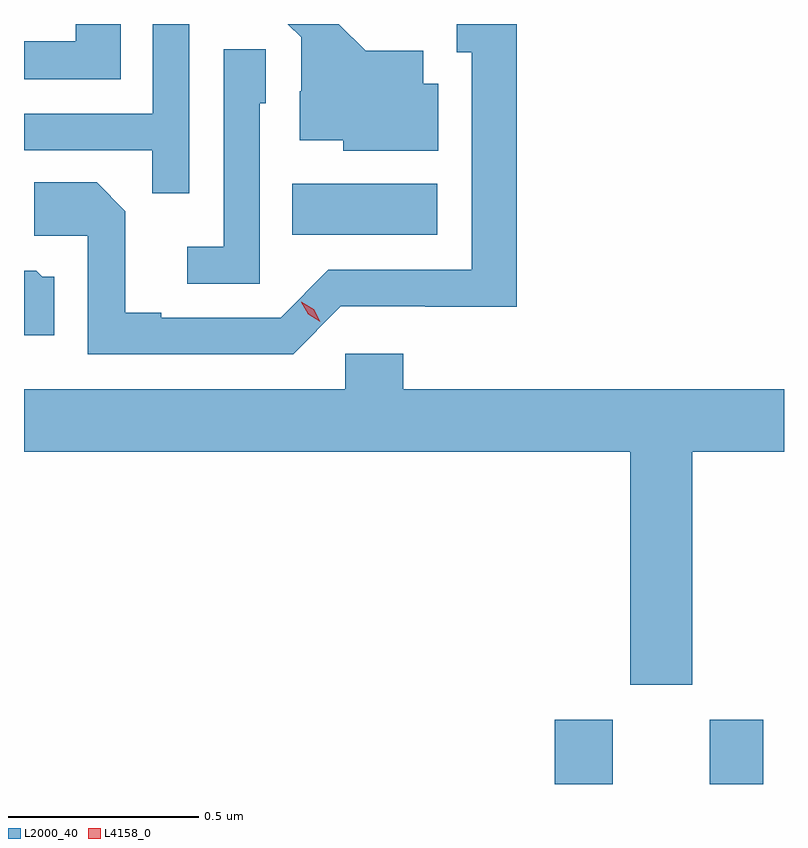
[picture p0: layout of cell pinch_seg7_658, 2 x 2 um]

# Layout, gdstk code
import gdstk
lib = gdstk.Library(unit=1e-6, precision=1e-09)
def R(c, l, rs):  # rectangles x0, y0, x1, y1
    for r in rs: c.add(gdstk.rectangle(r[:2], r[2:], *l))
def P(c, l, *ps):  # polygons
    for p in ps: c.add(gdstk.Polygon(p, *l))
L2000_40 = (2000, 40)
L4158_0 = (4158, 0)

pinch_seg7_658 = lib.new_cell('pinch_seg7_658')
R(pinch_seg7_658, L2000_40, [(124.517,1010.397,124.669,1010.566), (124.925,1010.397,125.065,1010.566), (123.826,1011.842,124.207,1011.976)])
P(pinch_seg7_658, L2000_40, [(123.555,1012.397),(123.459,1012.397),(123.459,1012.161),(123.12,1012.161),(123.12,1012.065),(123.457,1012.065),(123.457,1011.952),(123.555,1011.952)],
  [(124.21,1012.24),(124.171,1012.24),(124.171,1012.327),(124.019,1012.327),(123.948,1012.397),(123.814,1012.397),(123.849,1012.362),(123.849,1012.22),(123.845,1012.22),(123.845,1012.091),(123.96,1012.091),(123.96,1012.064),(124.21,1012.064)],
  [(123.374,1012.397),(123.256,1012.397),(123.256,1012.352),(123.12,1012.352),(123.12,1012.251),(123.374,1012.251)],
  [(123.954,1011.654),(124.176,1011.654),(124.176,1011.653),(124.417,1011.653),(124.417,1012.397),(124.259,1012.397),(124.259,1012.323),(124.298,1012.323),(124.298,1011.75),(123.921,1011.75),(123.795,1011.624),(123.481,1011.624),(123.481,1011.637),(123.387,1011.637),(123.387,1011.904),(123.311,1011.98),(123.147,1011.98),(123.147,1011.84),(123.288,1011.84),(123.288,1011.528),(123.828,1011.528)],
  [(123.741,1012.188),(123.756,1012.188),(123.756,1012.331),(123.645,1012.331),(123.645,1011.811),(123.549,1011.811),(123.549,1011.714),(123.741,1011.714)],
  [(123.199,1011.732),(123.168,1011.732),(123.152,1011.748),(123.12,1011.748),(123.12,1011.578),(123.199,1011.578)],
  [(124.879,1011.272),(125.12,1011.272),(125.12,1011.436),(124.118,1011.436),(124.118,1011.529),(123.966,1011.529),(123.966,1011.436),(123.12,1011.436),(123.12,1011.272),(124.715,1011.272),(124.715,1010.658),(124.879,1010.658)])
P(pinch_seg7_658, L4158_0, [(123.899,1011.614),(123.868,1011.633),(123.85,1011.665),(123.85,1011.666),(123.85,1011.666),(123.882,1011.647),(123.899,1011.614),(123.899,1011.614)])

lib.write_gds('pinch_seg7_658.gds')
